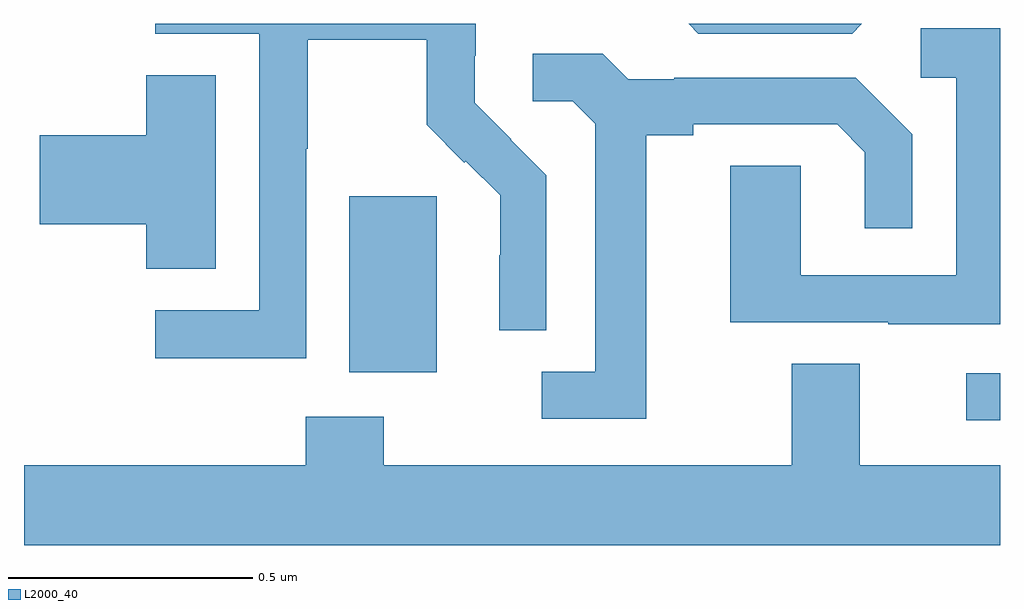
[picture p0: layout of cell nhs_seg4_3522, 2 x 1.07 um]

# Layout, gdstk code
import gdstk
lib = gdstk.Library(unit=1e-6, precision=1e-09)
def R(c, l, rs):  # rectangles x0, y0, x1, y1
    for r in rs: c.add(gdstk.rectangle(r[:2], r[2:], *l))
def P(c, l, *ps):  # polygons
    for p in ps: c.add(gdstk.Polygon(p, *l))
L2000_40 = (2000, 40)

nhs_seg4_3522 = lib.new_cell('nhs_seg4_3522')
R(nhs_seg4_3522, L2000_40, [(155.931,785.088,156,785.184), (154.667,785.186,154.846,785.547)])
P(nhs_seg4_3522, L2000_40, [(154.578,785.644),(154.581,785.644),(154.581,785.868),(154.825,785.868),(154.825,785.693),(154.902,785.616),(154.905,785.619),(154.976,785.549),(154.976,785.426),(154.974,785.426),(154.974,785.272),(155.07,785.272),(155.07,785.59),(154.997,785.663),(154.998,785.664),(154.924,785.738),(154.924,785.835),(154.926,785.835),(154.926,785.9),(154.269,785.9),(154.269,785.88),(154.482,785.88),(154.482,785.313),(154.269,785.313),(154.269,785.215),(154.578,785.215)],
  [(155.717,785.9),(155.362,785.9),(155.382,785.88),(155.697,785.88)],
  [(156,785.891),(155.838,785.891),(155.838,785.79),(155.91,785.79),(155.91,785.385),(155.592,785.385),(155.592,785.609),(155.447,785.609),(155.447,785.289),(155.771,785.289),(155.771,785.285),(156,785.285)],
  [(155.275,785.672),(155.371,785.672),(155.371,785.694),(155.666,785.694),(155.723,785.637),(155.723,785.481),(155.82,785.481),(155.82,785.674),(155.704,785.79),(155.332,785.79),(155.332,785.787),(155.238,785.787),(155.186,785.839),(155.043,785.839),(155.043,785.742),(155.124,785.742),(155.171,785.695),(155.171,785.187),(155.061,785.187),(155.061,785.091),(155.275,785.091)],
  [(154.393,785.795),(154.25,785.795),(154.25,785.672),(154.032,785.672),(154.032,785.489),(154.25,785.489),(154.25,785.398),(154.393,785.398)],
  [(156,784.996),(155.713,784.996),(155.713,785.204),(155.573,785.204),(155.573,784.996),(154.737,784.996),(154.737,785.095),(154.577,785.095),(154.577,784.996),(154,784.996),(154,784.832),(156,784.832)])

lib.write_gds('nhs_seg4_3522.gds')
